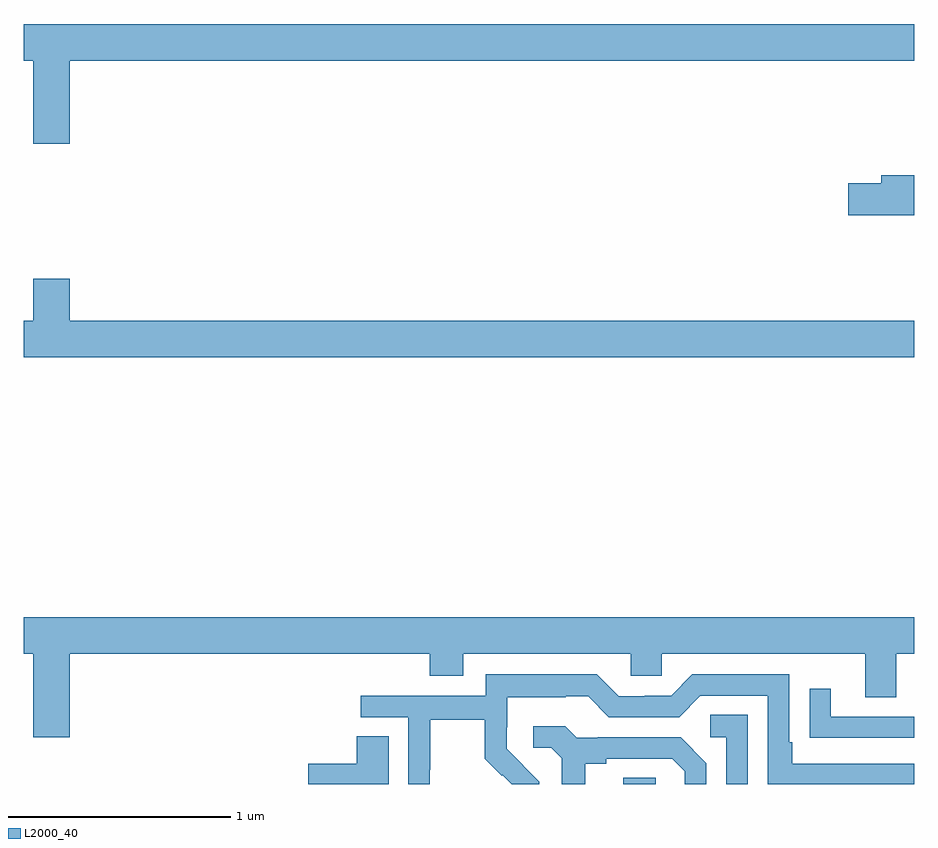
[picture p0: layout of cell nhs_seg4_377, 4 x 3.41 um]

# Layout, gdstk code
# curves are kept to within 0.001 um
import gdstk
lib = gdstk.Library(unit=1e-6, precision=1e-09)
def R(c, l, rs):  # rectangles x0, y0, x1, y1
    for r in rs: c.add(gdstk.rectangle(r[:2], r[2:], *l))
def P(c, l, *ps):  # polygons
    for p in ps: c.add(gdstk.Polygon(p, *l))
L2000_40 = (2000, 40)

nhs_seg4_377 = lib.new_cell('nhs_seg4_377')
R(nhs_seg4_377, L2000_40, [(131.693,798.9,131.838,798.929)])
P(nhs_seg4_377, L2000_40, [(129.208,802.148),(133,802.148),(133,802.312),(129,802.312),(129,802.148),(129.044,802.148),(129.044,801.774),(129.208,801.774)],
  [(133,801.632),(132.851,801.632),(132.851,801.596),(132.702,801.596),(132.702,801.454),(133,801.454)],
  [(133,800.98),(129.208,800.98),(129.208,801.169),(129.044,801.169),(129.044,800.98),(129,800.98),(129,800.816),(133,800.816)],
  [(129.208,799.484),(130.823,799.484),(130.823,799.385),(130.975,799.385),(130.975,799.484),(131.727,799.484),(131.727,799.386),(131.865,799.386),(131.865,799.484),(132.779,799.484),(132.779,799.29),(132.919,799.29),(132.919,799.484),(133,799.484),(133,799.648),(129,799.648),(129,799.484),(129.044,799.484),(129.044,799.11),(129.208,799.11)],
  [(130.824,798.964),(130.827,798.964),(130.827,799.188),(131.071,799.188),(131.071,799.013),(131.148,798.936),(131.151,798.939),(131.191,798.9),(131.316,798.9),(131.316,798.91),(131.17,799.058),(131.17,799.155),(131.172,799.155),(131.172,799.289),(131.435,799.289),(131.435,799.293),(131.535,799.293),(131.628,799.2),(131.943,799.2),(132.039,799.296),(132.342,799.296),(132.342,798.9),(133,798.9),(133,798.99),(132.451,798.99),(132.451,799.087),(132.438,799.087),(132.438,799.392),(132.003,799.392),(131.907,799.296),(131.789,799.296),(131.789,799.293),(131.673,799.293),(131.573,799.393),(131.076,799.393),(131.076,799.296),(130.515,799.296),(130.515,799.2),(130.728,799.2),(130.728,798.9),(130.824,798.9)],
  [(133,799.203),(132.625,799.203),(132.625,799.327),(132.529,799.327),(132.529,799.108),(132.631,799.108),(132.631,799.107),(133,799.107)],
  [(132.252,799.211),(132.084,799.211),(132.084,799.11),(132.156,799.11),(132.156,798.9),(132.252,798.9)],
  [(131.521,798.992),(131.617,798.992),(131.617,799.014),(131.912,799.014),(131.969,798.957),(131.969,798.9),(132.066,798.9),(132.066,798.994),(131.95,799.11),(131.578,799.11),(131.578,799.107),(131.484,799.107),(131.432,799.159),(131.289,799.159),(131.289,799.062),(131.37,799.062),(131.417,799.015),(131.417,798.9),(131.521,798.9)],
  [(130.639,799.115),(130.496,799.115),(130.496,798.992),(130.278,798.992),(130.278,798.9),(130.639,798.9)])

lib.write_gds('nhs_seg4_377.gds')
